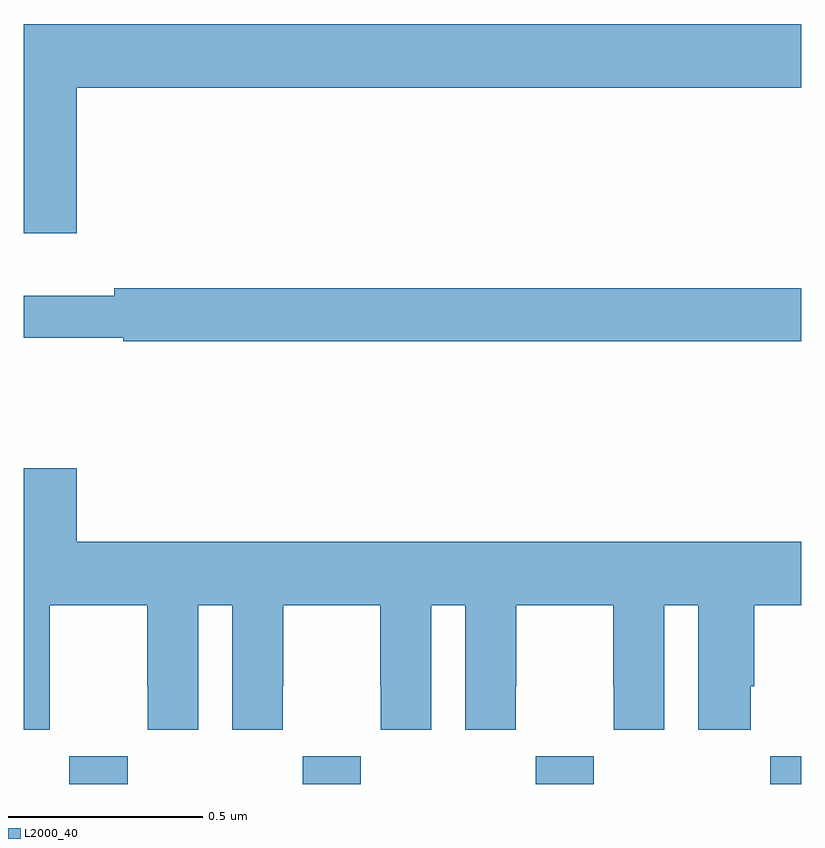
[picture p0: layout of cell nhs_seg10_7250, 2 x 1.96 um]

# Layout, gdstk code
import gdstk
lib = gdstk.Library(unit=1e-6, precision=1e-09)
def R(c, l, rs):  # rectangles x0, y0, x1, y1
    for r in rs: c.add(gdstk.rectangle(r[:2], r[2:], *l))
def A(c, l, x, y, w, h, nx, ny, dx, dy):  # array of equal rectangles
    R(c, l, [(x+i*dx, y+j*dy, x+i*dx+w, y+j*dy+h) for i in range(nx) for j in range(ny)])
def P(c, l, *ps):  # polygons
    for p in ps: c.add(gdstk.Polygon(p, *l))
L2000_40 = (2000, 40)

nhs_seg10_7250 = lib.new_cell('nhs_seg10_7250')
A(nhs_seg10_7250, L2000_40, 201.117, 1322.5, 0.15, 0.072, 3, 1, 0.6, 0)
R(nhs_seg10_7250, L2000_40, [(202.921,1322.5,203,1322.572)])
P(nhs_seg10_7250, L2000_40, [(201.136,1324.292),(203,1324.292),(203,1324.456),(201,1324.456),(201,1323.918),(201.136,1323.918)],
  [(203,1323.776),(201.232,1323.776),(201.232,1323.757),(201,1323.757),(201,1323.648),(201.255,1323.648),(201.255,1323.64),(203,1323.64)],
  [(201.136,1323.313),(201,1323.313),(201,1322.64),(201.066,1322.64),(201.066,1322.752),(201.067,1322.752),(201.067,1322.96),(201.317,1322.96),(201.317,1322.752),(201.318,1322.752),(201.318,1322.64),(201.448,1322.64),(201.448,1322.96),(201.536,1322.96),(201.536,1322.64),(201.666,1322.64),(201.666,1322.752),(201.667,1322.752),(201.667,1322.96),(201.917,1322.96),(201.917,1322.752),(201.918,1322.752),(201.918,1322.64),(202.048,1322.64),(202.048,1322.96),(202.136,1322.96),(202.136,1322.64),(202.266,1322.64),(202.266,1322.752),(202.267,1322.752),(202.267,1322.96),(202.517,1322.96),(202.517,1322.752),(202.518,1322.752),(202.518,1322.64),(202.648,1322.64),(202.648,1322.96),(202.736,1322.96),(202.736,1322.64),(202.87,1322.64),(202.87,1322.752),(202.88,1322.752),(202.88,1322.96),(203,1322.96),(203,1323.124),(201.136,1323.124)])

lib.write_gds('nhs_seg10_7250.gds')
